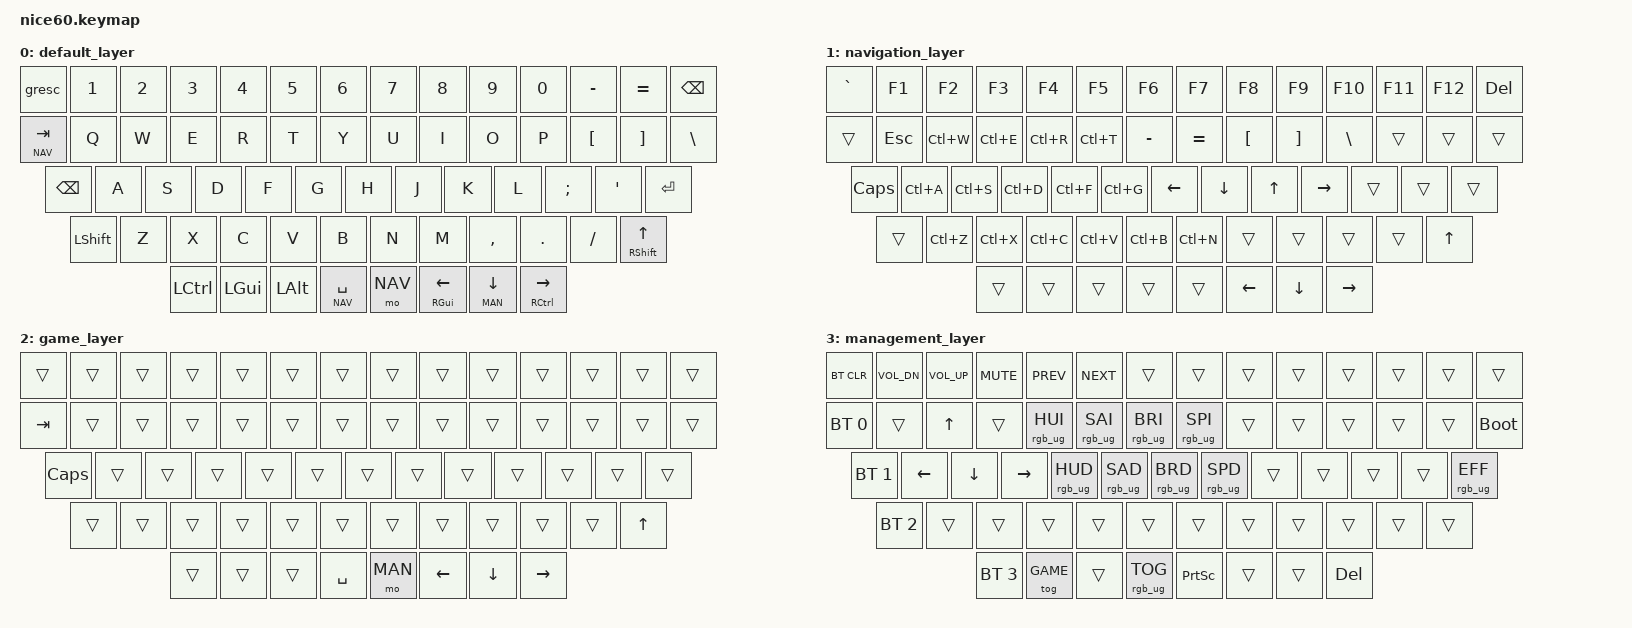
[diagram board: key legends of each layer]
/*
 * Copyright (c) 2021 Nick Winans
 *
 * SPDX-License-Identifier: MIT
 * See
 * https://zmk.dev/docs/behaviors/key-press for behaviors and
 * https://zmk.dev/docs/codes for codes
 */

#include <behaviors.dtsi>
#include <dt-bindings/zmk/keys.h>
#include <dt-bindings/zmk/rgb.h>
#include <dt-bindings/zmk/bt.h>

#define HOME 0
#define NAV  1
#define GAME 2
#define MAN  3

/ {
	keymap {
		compatible = "zmk,keymap";
		
		default_layer {
// ------------------------------------------------------------------------------------------
// | ESC |  1  |  2  |  3  |  4  |  5  |  6  |  7  |  8  |  9  |  0  |  -  |  =  |   BKSP   |
// | TAB  |  Q  |  W  |  E  |  R  |  T  |  Y  |  U  |  I  |  O  |  P  |  [  |  ]  |   "|"   |
// | CAPS  |  A  |  S  |  D  |  F  |  G  |  H  |  J  |  K  |  L  |  ;  |  '  |     ENTER    |
// |  SHIFT  |  Z  |  X  |  C  |  V  |  B  |  N  |  M  |  ,  |  .  |  /  |      SHIFT       |
// |  CTL  |  WIN  |  ALT  |            SPACE              |  MO(1)  |  WIN  |  MO(3) |  CTL  |
// ------------------------------------------------------------------------------------------
			bindings = <
	&gresc  &kp N1 &kp N2 &kp N3 &kp N4 &kp N5 &kp N6 &kp N7 &kp N8 &kp N9 &kp N0 &kp MINUS &kp EQUAL  &kp BSPC
	&lt NAV TAB  &kp Q  &kp W  &kp E  &kp R  &kp T  &kp Y  &kp U  &kp I  &kp O  &kp P  &kp LBKT  &kp RBKT  &kp BSLH
	&kp BSPC  &kp A  &kp S  &kp D  &kp F  &kp G  &kp H  &kp J  &kp K  &kp L  &kp SEMI &kp SQT           &kp RET
	&kp LSHFT   &kp Z  &kp X  &kp C  &kp V  &kp B  &kp N  &kp M  &kp COMMA &kp DOT &kp FSLH           &mt RSHFT UP
	&kp LCTRL &kp LGUI &kp LALT             &lt NAV SPACE                     &mo NAV  &mt RGUI LEFT  &lt MAN DOWN   &mt RCTRL RIGHT
			>;
		};

		navigation_layer {
// ------------------------------------------------------------------------------------------
// | ESC |  1  |  2  |  3  |  4  |  5  |  6  |  7  |  8  |  9  |  0  |  -  |  =  |   BKSP   |
// | TAB  |  Q  |  W  |  E  |  R  |  T  |  Y  |  U  |  I  |  O  |  P  |  [  |  ]  |   "|"   |
// | CAPS  |  A  |  S  |  D  |  F  |  G  |  H  |  J  |  K  |  L  |  ;  |  '  |     ENTER    |
// |  SHIFT  |  Z  |  X  |  C  |  V  |  B  |  N  |  M  |  ,  |  .  |  /  |      SHIFT       |
// |  CTL  |  WIN  |  ALT  |            SPACE              |  ALT  |  WIN  |  MO(1) |  CTL  |
// ------------------------------------------------------------------------------------------
			bindings = <
	&kp GRAVE &kp F1 &kp F2 &kp F3 &kp F4 &kp F5 &kp F6 &kp F7 &kp F8 &kp F9 &kp F10 &kp F11 &kp F12  &kp DEL
	&trans &kp ESC &kp LC(W) &kp LC(E) &kp LC(R) &kp LC(T) &kp MINUS &kp EQUAL &kp LBKT &kp RBKT &kp BSLH &trans &trans &trans 
	&kp CAPS &kp LC(A) &kp LC(S) &kp LC(D) &kp LC(F) &kp LC(G) &kp LEFT &kp DOWN &kp UP &kp RIGHT &trans &trans &trans 
	&trans &kp LC(Z) &kp LC(X) &kp LC(C) &kp LC(V) &kp LC(B) &kp LC(N) &trans &trans &trans &trans &kp UP 
	&trans    &trans   &trans              &trans                         &trans    &kp LEFT   &kp DOWN  &kp RIGHT 
			>;
		};

		game_layer {
// ------------------------------------------------------------------------------------------
// | ESC |  1  |  2  |  3  |  4  |  5  |  6  |  7  |  8  |  9  |  0  |  -  |  =  |   BKSP   |
// | TAB  |  Q  |  W  |  E  |  R  |  T  |  Y  |  U  |  I  |  O  |  P  |  [  |  ]  |   "|"   |
// | CAPS  |  A  |  S  |  D  |  F  |  G  |  H  |  J  |  K  |  L  |  ;  |  '  |     ENTER    |
// |  SHIFT  |  Z  |  X  |  C  |  V  |  B  |  N  |  M  |  ,  |  .  |  /  |      SHIFT       |
// |  CTL  |  WIN  |  ALT  |            SPACE              |  ALT  |  WIN  |  MO(1) |  CTL  |
// ------------------------------------------------------------------------------------------
			bindings = <
	&trans &trans &trans &trans &trans &trans &trans &trans &trans &trans &trans  &trans  &trans  &trans 
	&kp TAB &trans &trans &trans &trans &trans &trans &trans &trans &trans &trans &trans &trans &trans 
	&kp CAPS &trans &trans &trans &trans &trans &trans &trans &trans  &trans &trans &trans &trans 
	&trans &trans &trans &trans &trans &trans &trans &trans &trans &trans &trans &kp UP 
	&trans    &trans   &trans              &kp SPACE                  &mo MAN    &kp LEFT    &kp DOWN  &kp RIGHT 
			>;
		};


		management_layer {
// ------------------------------------------------------------------------------------------------
// | BT CLR | F1  | F2  | F3  | F4  | F5  | F6  | F7  | F8  | F9  | F10  | F11 | F12 | EFFECT REV |
// |  BT 1   |   |  UP |   | HUEUP | SATUP | BRIUP | SPDUP |   |     |    |     |     |           |
// |   BT 2   | LT |  DN  | RT | HUEDN | SATDN | BRIDN | SPDDN |   |     |   |     |  EFFECT FORW |
// |    BT 3     |     |      |      |     |     |     |     |     |     |     |                  |
// |   BT 4  |      |      |             TOG RGB                | PRT SCR |       |       |  DEL  |
// ------------------------------------------------------------------------------------------------
			bindings = <
	&bt BT_CLR   &kp C_VOL_DN    &kp C_VOL_UP    &kp C_MUTE  &kp C_PREV           &kp C_NEXT   &trans      &trans     &trans   &trans  &trans  &trans &trans &trans
	&bt BT_SEL 0  &trans    &kp UP    &trans  &rgb_ug RGB_HUI  &rgb_ug RGB_SAI &rgb_ug RGB_BRI &rgb_ug RGB_SPI  &trans   &trans   &trans   &trans  &trans          &bootloader 
	&bt BT_SEL 1   &kp LEFT  &kp DOWN  &kp RIGHT &rgb_ug RGB_HUD &rgb_ug RGB_SAD &rgb_ug RGB_BRD &rgb_ug RGB_SPD &trans   &trans   &trans   &trans        &rgb_ug RGB_EFF
	&bt BT_SEL 2    &trans    &trans    &trans   &trans          &trans          &trans          &trans          &trans   &trans   &trans                          &trans
	&bt BT_SEL 3  &tog GAME   &trans                            &rgb_ug RGB_TOG                                      &kp PSCRN      &trans      &trans               &kp DEL
			>;
		};
	};
};
